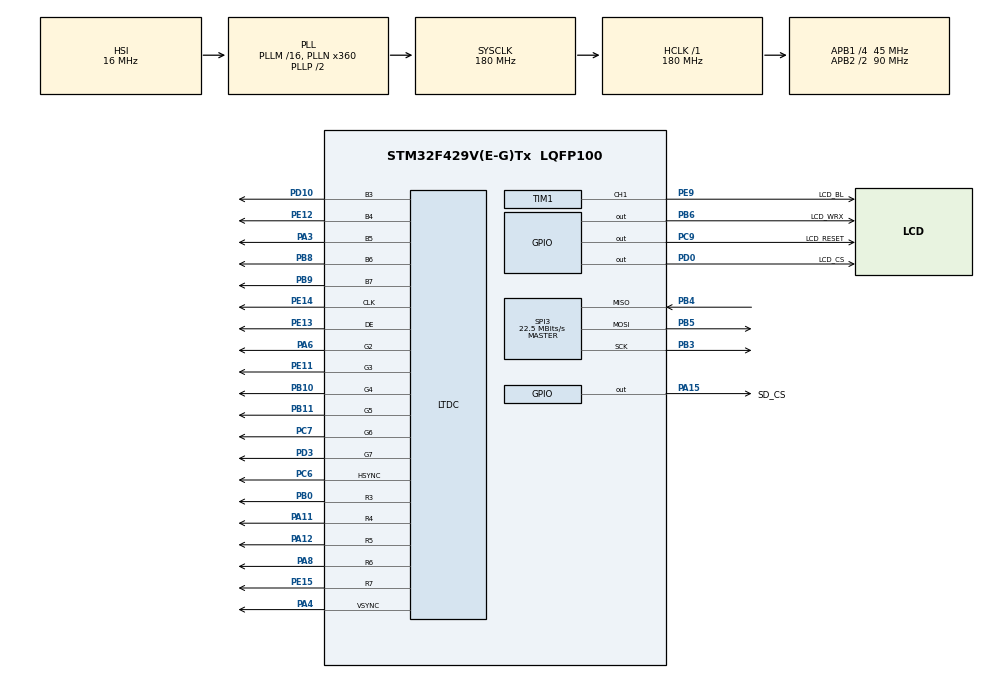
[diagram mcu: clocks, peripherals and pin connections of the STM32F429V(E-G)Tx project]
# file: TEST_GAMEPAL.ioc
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Dma.Request0=SPI3_RX
Dma.Request1=SPI3_TX
Dma.SPI3_RX.0.Direction=DMA_PERIPH_TO_MEMORY
Dma.SPI3_RX.0.FIFOMode=DMA_FIFOMODE_DISABLE
Dma.SPI3_RX.0.Instance=DMA1_Stream2
Dma.SPI3_RX.0.MemDataAlignment=DMA_MDATAALIGN_BYTE
Dma.SPI3_RX.0.MemInc=DMA_MINC_ENABLE
Dma.SPI3_RX.0.Mode=DMA_NORMAL
Dma.SPI3_RX.0.PeriphDataAlignment=DMA_PDATAALIGN_BYTE
Dma.SPI3_RX.0.PeriphInc=DMA_PINC_DISABLE
Dma.SPI3_RX.0.Priority=DMA_PRIORITY_LOW
Dma.SPI3_TX.1.Direction=DMA_MEMORY_TO_PERIPH
Dma.SPI3_TX.1.FIFOMode=DMA_FIFOMODE_DISABLE
Dma.SPI3_TX.1.Instance=DMA1_Stream5
Dma.SPI3_TX.1.MemDataAlignment=DMA_MDATAALIGN_BYTE
Dma.SPI3_TX.1.MemInc=DMA_MINC_ENABLE
Dma.SPI3_TX.1.Mode=DMA_NORMAL
Dma.SPI3_TX.1.PeriphDataAlignment=DMA_PDATAALIGN_BYTE
Dma.SPI3_TX.1.PeriphInc=DMA_PINC_DISABLE
Dma.SPI3_TX.1.Priority=DMA_PRIORITY_LOW
LTDC.ActiveH=320
LTDC.ActiveW=240
LTDC.Alpha_L0=255
LTDC.BlendingFactor1_L0=LTDC_BLENDING_FACTOR1_CA
LTDC.BlendingFactor2_L0=LTDC_BLENDING_FACTOR2_CA
LTDC.Blue_L0=0
LTDC.DEPolarity=LTDC_DEPOLARITY_AL
LTDC.Green=0
LTDC.Green_L0=0
LTDC.HBP=10
LTDC.HFP=38
LTDC.HSync=10
LTDC.ImageHeight_L0=320
LTDC.ImageWidth_L0=240
LTDC.Layers=0
LTDC.PCPolarity=LTDC_PCPOLARITY_IPC
LTDC.PixelFormat_L0=LTDC_PIXEL_FORMAT_RGB565
LTDC.Red=0
LTDC.VBP=4
LTDC.VFP=8
LTDC.VSync=4
LTDC.WindowX1_L0=240
LTDC.WindowY0_L0=0
LTDC.WindowY1_L0=320
Mcu.Family=STM32F4
Mcu.Name=STM32F429V(E-G)Tx
Mcu.Package=LQFP100
NVIC.DMA1_Stream2_IRQn=true\:0\:0\:false\:false\:true\:false\:true\:true
NVIC.DMA1_Stream5_IRQn=true\:0\:0\:false\:false\:true\:false\:true\:true
NVIC.PriorityGroup=NVIC_PRIORITYGROUP_4
PA11.GPIO_Speed=GPIO_SPEED_FREQ_VERY_HIGH
PA11.Mode=RGB565
PA11.Signal=LTDC_R4
PA12.GPIO_Speed=GPIO_SPEED_FREQ_VERY_HIGH
PA12.Mode=RGB565
PA12.Signal=LTDC_R5
PA13.Mode=Serial_Wire
PA13.Signal=SYS_JTMS-SWDIO
PA14.Mode=Serial_Wire
PA14.Signal=SYS_JTCK-SWCLK
PA15.GPIO_Label=SD_CS
PA15.GPIO_Speed=GPIO_SPEED_FREQ_HIGH
PA15.Signal=GPIO_Output
PA3.GPIO_Speed=GPIO_SPEED_FREQ_VERY_HIGH
PA3.Mode=RGB565
PA3.Signal=LTDC_B5
PA4.GPIO_Speed=GPIO_SPEED_FREQ_VERY_HIGH
PA4.Mode=RGB565
PA4.Signal=LTDC_VSYNC
PA6.GPIO_Speed=GPIO_SPEED_FREQ_VERY_HIGH
PA6.Mode=RGB565
PA6.Signal=LTDC_G2
PA8.GPIO_Speed=GPIO_SPEED_FREQ_VERY_HIGH
PA8.Mode=RGB565
PA8.Signal=LTDC_R6
PB0.GPIO_Speed=GPIO_SPEED_FREQ_VERY_HIGH
PB0.Mode=RGB565
PB0.Signal=LTDC_R3
PB10.GPIO_Speed=GPIO_SPEED_FREQ_VERY_HIGH
PB10.Mode=RGB565
PB10.Signal=LTDC_G4
PB11.GPIO_Speed=GPIO_SPEED_FREQ_VERY_HIGH
PB11.Mode=RGB565
PB11.Signal=LTDC_G5
PB3.Mode=Full_Duplex_Master
PB3.Signal=SPI3_SCK
PB4.Mode=Full_Duplex_Master
PB4.Signal=SPI3_MISO
PB5.Mode=Full_Duplex_Master
PB5.Signal=SPI3_MOSI
PB6.GPIO_Label=LCD_WRX
PB6.GPIO_Speed=GPIO_SPEED_FREQ_HIGH
PB6.PinState=GPIO_PIN_SET
PB6.Signal=GPIO_Output
PB8.GPIO_Speed=GPIO_SPEED_FREQ_VERY_HIGH
PB8.Mode=RGB565
PB8.Signal=LTDC_B6
PB9.GPIO_Speed=GPIO_SPEED_FREQ_VERY_HIGH
PB9.Mode=RGB565
PB9.Signal=LTDC_B7
PC6.GPIO_Speed=GPIO_SPEED_FREQ_VERY_HIGH
PC6.Mode=RGB565
PC6.Signal=LTDC_HSYNC
PC7.GPIO_Speed=GPIO_SPEED_FREQ_VERY_HIGH
PC7.Mode=RGB565
PC7.Signal=LTDC_G6
PC9.GPIO_Label=LCD_RESET
PC9.PinState=GPIO_PIN_SET
PC9.Signal=GPIO_Output
PD0.GPIO_Label=LCD_CS
PD0.GPIO_Speed=GPIO_SPEED_FREQ_HIGH
PD0.PinState=GPIO_PIN_SET
PD0.Signal=GPIO_Output
PD10.GPIO_Speed=GPIO_SPEED_FREQ_VERY_HIGH
PD10.Mode=RGB565
PD10.Signal=LTDC_B3
PD3.GPIO_Speed=GPIO_SPEED_FREQ_VERY_HIGH
PD3.Mode=RGB565
PD3.Signal=LTDC_G7
PE11.GPIO_Speed=GPIO_SPEED_FREQ_VERY_HIGH
PE11.Mode=RGB565
PE11.Signal=LTDC_G3
PE12.GPIO_Speed=GPIO_SPEED_FREQ_VERY_HIGH
PE12.Mode=RGB565
PE12.Signal=LTDC_B4
PE13.GPIO_Speed=GPIO_SPEED_FREQ_VERY_HIGH
PE13.Mode=RGB565
PE13.Signal=LTDC_DE
PE14.GPIO_Speed=GPIO_SPEED_FREQ_VERY_HIGH
PE14.Mode=RGB565
PE14.Signal=LTDC_CLK
PE15.GPIO_Speed=GPIO_SPEED_FREQ_VERY_HIGH
PE15.Mode=RGB565
PE15.Signal=LTDC_R7
PE9.GPIO_Label=LCD_BL
PE9.Signal=S_TIM1_CH1
ProjectManager.HeapSize=0x200
ProjectManager.StackSize=0x400
ProjectManager.TargetToolchain=STM32CubeIDE
RCC.48MHZClocksFreq_Value=90000000
RCC.AHBFreq_Value=180000000
RCC.APB1CLKDivider=RCC_HCLK_DIV4
RCC.APB1Freq_Value=45000000
RCC.APB1TimFreq_Value=90000000
RCC.APB2CLKDivider=RCC_HCLK_DIV2
RCC.APB2Freq_Value=90000000
RCC.APB2TimFreq_Value=180000000
RCC.CortexFreq_Value=180000000
RCC.HCLKFreq_Value=180000000
RCC.HSE_VALUE=25000000
RCC.HSI_VALUE=16000000
RCC.LSE_VALUE=32768
RCC.PLLN=360
RCC.PLLSAIN=140
RCC.PLLSAIR=5
RCC.SYSCLKFreq_VALUE=180000000
RCC.SYSCLKSource=RCC_SYSCLKSOURCE_PLLCLK
RCC.VCOOutputFreq_Value=360000000
SH.S_TIM1_CH1.0=TIM1_CH1,PWM Generation1 CH1
SPI3.BaudRatePrescaler=SPI_BAUDRATEPRESCALER_2
SPI3.CalculateBaudRate=22.5 MBits/s
SPI3.DataSize=SPI_DATASIZE_8BIT
SPI3.Direction=SPI_DIRECTION_2LINES
SPI3.Mode=SPI_MODE_MASTER
SPI3.VirtualType=VM_MASTER
TIM1.Channel-PWM\ Generation1\ CH1=TIM_CHANNEL_1
TIM1.Period=99
TIM1.Prescaler=15
board=custom

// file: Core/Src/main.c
/* USER CODE BEGIN Header */
/* USER CODE END Header */
#include "main.h"

/* USER CODE BEGIN Includes */

#include "st7789v.h"
#include "st_logo1.h"
/* USER CODE END Includes */

/* USER CODE BEGIN PD */
#define LCD_CS_LOW()       HAL_GPIO_WritePin(LCD_CS_GPIO_Port, LCD_CS_Pin, GPIO_PIN_RESET)
#define LCD_CS_HIGH()      HAL_GPIO_WritePin(LCD_CS_GPIO_Port, LCD_CS_Pin, GPIO_PIN_SET)
/* USER CODE END PD */

LTDC_HandleTypeDef hltdc;

SPI_HandleTypeDef hspi3;
DMA_HandleTypeDef hdma_spi3_rx;
DMA_HandleTypeDef hdma_spi3_tx;

TIM_HandleTypeDef htim1;

void SystemClock_Config(void);
static void MX_GPIO_Init(void);
static void MX_DMA_Init(void);
static void MX_SPI3_Init(void);
static void MX_LTDC_Init(void);
static void MX_TIM1_Init(void);

int main(void)
{

  /* MCU Configuration--------------------------------------------------------*/

  /* Reset of all peripherals, Initializes the Flash interface and the Systick. */
  HAL_Init();

  /* Configure the system clock */
  SystemClock_Config();

  /* Initialize all configured peripherals */
  MX_GPIO_Init();
  MX_DMA_Init();
  MX_SPI3_Init();
  MX_LTDC_Init();
  MX_TIM1_Init();
  /* USER CODE BEGIN 2 */

  HAL_TIM_PWM_Start(&htim1, TIM_CHANNEL_1);

  HAL_LTDC_Reload(&hltdc,LTDC_SRCR_VBR);

  /* USER CODE END 2 */

  /* Infinite loop */
  while(1)
  {

    /* USER CODE BEGIN 3 */
//	  st7789_Clear(0x0000);
//	  HAL_Delay(1000);
//	  st7789_Clear(0xF800);
//	  HAL_Delay(1000);
//	  st7789_Clear(0x07E0);
//	  HAL_Delay(1000);
//	  st7789_Clear(0x001F);
//	  HAL_Delay(1000);
//	  st7789_Clear(0xFFFF);
//	  HAL_Delay(1000);

	  for(int i = 0; i < 76800; i++)
	  {
		  ST_LOGO_1[i] = 0;
//		  HAL_Delay(0);
	  }
//	  HAL_LTDC_Reload(&hltdc,LTDC_SRCR_VBR);
	  HAL_Delay(1000);

	  for(int i = 0; i < 76800; i++)
	  {
		  ST_LOGO_1[i] = 0xF700;
	  }
//	  HAL_LTDC_Reload(&hltdc,LTDC_SRCR_VBR);
	  HAL_Delay(1000);

  }
  /* USER CODE END 3 */
}

void SystemClock_Config(void)
{
  RCC_OscInitTypeDef RCC_OscInitStruct = {0};
  RCC_ClkInitTypeDef RCC_ClkInitStruct = {0};

  /** Configure the main internal regulator output voltage
  */
  __HAL_RCC_PWR_CLK_ENABLE();
  __HAL_PWR_VOLTAGESCALING_CONFIG(PWR_REGULATOR_VOLTAGE_SCALE1);

  /** Initializes the RCC Oscillators according to the specified parameters
  * in the RCC_OscInitTypeDef structure.
  */
  RCC_OscInitStruct.OscillatorType = RCC_OSCILLATORTYPE_HSI;
  RCC_OscInitStruct.HSIState = RCC_HSI_ON;
  RCC_OscInitStruct.HSICalibrationValue = RCC_HSICALIBRATION_DEFAULT;
  RCC_OscInitStruct.PLL.PLLState = RCC_PLL_ON;
  RCC_OscInitStruct.PLL.PLLSource = RCC_PLLSOURCE_HSI;
  RCC_OscInitStruct.PLL.PLLM = 16;
  RCC_OscInitStruct.PLL.PLLN = 360;
  RCC_OscInitStruct.PLL.PLLP = RCC_PLLP_DIV2;
  RCC_OscInitStruct.PLL.PLLQ = 4;
  if (HAL_RCC_OscConfig(&RCC_OscInitStruct) != HAL_OK)
  {
    Error_Handler();
  }

  /** Activate the Over-Drive mode
  */
  if (HAL_PWREx_EnableOverDrive() != HAL_OK)
  {
    Error_Handler();
  }

  /** Initializes the CPU, AHB and APB buses clocks
  */
  RCC_ClkInitStruct.ClockType = RCC_CLOCKTYPE_HCLK|RCC_CLOCKTYPE_SYSCLK
                              |RCC_CLOCKTYPE_PCLK1|RCC_CLOCKTYPE_PCLK2;
  RCC_ClkInitStruct.SYSCLKSource = RCC_SYSCLKSOURCE_PLLCLK;
  RCC_ClkInitStruct.AHBCLKDivider = RCC_SYSCLK_DIV1;
  RCC_ClkInitStruct.APB1CLKDivider = RCC_HCLK_DIV4;
  RCC_ClkInitStruct.APB2CLKDivider = RCC_HCLK_DIV2;

  if (HAL_RCC_ClockConfig(&RCC_ClkInitStruct, FLASH_LATENCY_5) != HAL_OK)
  {
    Error_Handler();
  }
}

static void MX_LTDC_Init(void)
{

  /* USER CODE BEGIN LTDC_Init 0 */

	st7789_Init();
  /* USER CODE END LTDC_Init 0 */

  LTDC_LayerCfgTypeDef pLayerCfg = {0};

  hltdc.Instance = LTDC;
  hltdc.Init.HSPolarity = LTDC_HSPOLARITY_AL;
  hltdc.Init.VSPolarity = LTDC_VSPOLARITY_AL;
  hltdc.Init.DEPolarity = LTDC_DEPOLARITY_AL;
  hltdc.Init.PCPolarity = LTDC_PCPOLARITY_IPC;
  hltdc.Init.HorizontalSync = 9;
  hltdc.Init.VerticalSync = 3;
  hltdc.Init.AccumulatedHBP = 19;
  hltdc.Init.AccumulatedVBP = 7;
  hltdc.Init.AccumulatedActiveW = 259;
  hltdc.Init.AccumulatedActiveH = 327;
  hltdc.Init.TotalWidth = 297;
  hltdc.Init.TotalHeigh = 335;
  hltdc.Init.Backcolor.Blue = 0;
  hltdc.Init.Backcolor.Green = 0;
  hltdc.Init.Backcolor.Red = 0;
  if (HAL_LTDC_Init(&hltdc) != HAL_OK)
  {
    Error_Handler();
  }
  pLayerCfg.WindowX0 = 0;
  pLayerCfg.WindowX1 = 240;
  pLayerCfg.WindowY0 = 0;
  pLayerCfg.WindowY1 = 320;
  pLayerCfg.PixelFormat = LTDC_PIXEL_FORMAT_RGB565;
  pLayerCfg.Alpha = 255;
  pLayerCfg.Alpha0 = 0;
  pLayerCfg.BlendingFactor1 = LTDC_BLENDING_FACTOR1_CA;
  pLayerCfg.BlendingFactor2 = LTDC_BLENDING_FACTOR2_CA;
  pLayerCfg.FBStartAdress = (uint32_t) &ST_LOGO_1;
  pLayerCfg.ImageWidth = 240;
  pLayerCfg.ImageHeight = 320;
  pLayerCfg.Backcolor.Blue = 0;
  pLayerCfg.Backcolor.Green = 0;
  pLayerCfg.Backcolor.Red = 0;
  if (HAL_LTDC_ConfigLayer(&hltdc, &pLayerCfg, 0) != HAL_OK)
  {
    Error_Handler();
  }

}

static void MX_SPI3_Init(void)
{

  /* SPI3 parameter configuration*/
  hspi3.Instance = SPI3;
  hspi3.Init.Mode = SPI_MODE_MASTER;
  hspi3.Init.Direction = SPI_DIRECTION_2LINES;
  hspi3.Init.DataSize = SPI_DATASIZE_8BIT;
  hspi3.Init.CLKPolarity = SPI_POLARITY_LOW;
  hspi3.Init.CLKPhase = SPI_PHASE_1EDGE;
  hspi3.Init.NSS = SPI_NSS_SOFT;
  hspi3.Init.BaudRatePrescaler = SPI_BAUDRATEPRESCALER_2;
  hspi3.Init.FirstBit = SPI_FIRSTBIT_MSB;
  hspi3.Init.TIMode = SPI_TIMODE_DISABLE;
  hspi3.Init.CRCCalculation = SPI_CRCCALCULATION_DISABLE;
  hspi3.Init.CRCPolynomial = 10;
  if (HAL_SPI_Init(&hspi3) != HAL_OK)
  {
    Error_Handler();
  }

}

static void MX_TIM1_Init(void)
{

  TIM_MasterConfigTypeDef sMasterConfig = {0};
  TIM_OC_InitTypeDef sConfigOC = {0};
  TIM_BreakDeadTimeConfigTypeDef sBreakDeadTimeConfig = {0};

  htim1.Instance = TIM1;
  htim1.Init.Prescaler = 15;
  htim1.Init.CounterMode = TIM_COUNTERMODE_UP;
  htim1.Init.Period = 99;
  htim1.Init.ClockDivision = TIM_CLOCKDIVISION_DIV1;
  htim1.Init.RepetitionCounter = 0;
  htim1.Init.AutoReloadPreload = TIM_AUTORELOAD_PRELOAD_DISABLE;
  if (HAL_TIM_PWM_Init(&htim1) != HAL_OK)
  {
    Error_Handler();
  }
  sMasterConfig.MasterOutputTrigger = TIM_TRGO_RESET;
  sMasterConfig.MasterSlaveMode = TIM_MASTERSLAVEMODE_DISABLE;
  if (HAL_TIMEx_MasterConfigSynchronization(&htim1, &sMasterConfig) != HAL_OK)
  {
    Error_Handler();
  }
  sConfigOC.OCMode = TIM_OCMODE_PWM1;
  sConfigOC.Pulse = 0;
  sConfigOC.OCPolarity = TIM_OCPOLARITY_HIGH;
  sConfigOC.OCNPolarity = TIM_OCNPOLARITY_HIGH;
  sConfigOC.OCFastMode = TIM_OCFAST_DISABLE;
  sConfigOC.OCIdleState = TIM_OCIDLESTATE_RESET;
  sConfigOC.OCNIdleState = TIM_OCNIDLESTATE_RESET;
  if (HAL_TIM_PWM_ConfigChannel(&htim1, &sConfigOC, TIM_CHANNEL_1) != HAL_OK)
  {
    Error_Handler();
  }
  sBreakDeadTimeConfig.OffStateRunMode = TIM_OSSR_DISABLE;
  sBreakDeadTimeConfig.OffStateIDLEMode = TIM_OSSI_DISABLE;
  sBreakDeadTimeConfig.LockLevel = TIM_LOCKLEVEL_OFF;
  sBreakDeadTimeConfig.DeadTime = 0;
  sBreakDeadTimeConfig.BreakState = TIM_BREAK_DISABLE;
  sBreakDeadTimeConfig.BreakPolarity = TIM_BREAKPOLARITY_HIGH;
  sBreakDeadTimeConfig.AutomaticOutput = TIM_AUTOMATICOUTPUT_DISABLE;
  if (HAL_TIMEx_ConfigBreakDeadTime(&htim1, &sBreakDeadTimeConfig) != HAL_OK)
  {
    Error_Handler();
  }
  /* USER CODE BEGIN TIM1_Init 2 */
  TIM1->CCR1 = 25;

  /* USER CODE END TIM1_Init 2 */
  HAL_TIM_MspPostInit(&htim1);

}

static void MX_DMA_Init(void)
{

  /* DMA controller clock enable */
  __HAL_RCC_DMA1_CLK_ENABLE();

  /* DMA interrupt init */
  /* DMA1_Stream2_IRQn interrupt configuration */
  HAL_NVIC_SetPriority(DMA1_Stream2_IRQn, 0, 0);
  HAL_NVIC_EnableIRQ(DMA1_Stream2_IRQn);
  /* DMA1_Stream5_IRQn interrupt configuration */
  HAL_NVIC_SetPriority(DMA1_Stream5_IRQn, 0, 0);
  HAL_NVIC_EnableIRQ(DMA1_Stream5_IRQn);

}

static void MX_GPIO_Init(void)
{
  GPIO_InitTypeDef GPIO_InitStruct = {0};

  /* GPIO Ports Clock Enable */
  __HAL_RCC_GPIOA_CLK_ENABLE();
  __HAL_RCC_GPIOB_CLK_ENABLE();
  __HAL_RCC_GPIOE_CLK_ENABLE();
  __HAL_RCC_GPIOD_CLK_ENABLE();
  __HAL_RCC_GPIOC_CLK_ENABLE();

  /*Configure GPIO pin Output Level */
  HAL_GPIO_WritePin(LCD_RESET_GPIO_Port, LCD_RESET_Pin, GPIO_PIN_SET);

  /*Configure GPIO pin Output Level */
  HAL_GPIO_WritePin(SD_CS_GPIO_Port, SD_CS_Pin, GPIO_PIN_RESET);

  /*Configure GPIO pin Output Level */
  HAL_GPIO_WritePin(LCD_CS_GPIO_Port, LCD_CS_Pin, GPIO_PIN_SET);

  /*Configure GPIO pin Output Level */
  HAL_GPIO_WritePin(LCD_WRX_GPIO_Port, LCD_WRX_Pin, GPIO_PIN_SET);

  /*Configure GPIO pin : LCD_RESET_Pin */
  GPIO_InitStruct.Pin = LCD_RESET_Pin;
  GPIO_InitStruct.Mode = GPIO_MODE_OUTPUT_PP;
  GPIO_InitStruct.Pull = GPIO_NOPULL;
  GPIO_InitStruct.Speed = GPIO_SPEED_FREQ_LOW;
  HAL_GPIO_Init(LCD_RESET_GPIO_Port, &GPIO_InitStruct);

  /*Configure GPIO pin : SD_CS_Pin */
  GPIO_InitStruct.Pin = SD_CS_Pin;
  GPIO_InitStruct.Mode = GPIO_MODE_OUTPUT_PP;
  GPIO_InitStruct.Pull = GPIO_NOPULL;
  GPIO_InitStruct.Speed = GPIO_SPEED_FREQ_HIGH;
  HAL_GPIO_Init(SD_CS_GPIO_Port, &GPIO_InitStruct);

  /*Configure GPIO pin : LCD_CS_Pin */
  GPIO_InitStruct.Pin = LCD_CS_Pin;
  GPIO_InitStruct.Mode = GPIO_MODE_OUTPUT_PP;
  GPIO_InitStruct.Pull = GPIO_NOPULL;
  GPIO_InitStruct.Speed = GPIO_SPEED_FREQ_HIGH;
  HAL_GPIO_Init(LCD_CS_GPIO_Port, &GPIO_InitStruct);

  /*Configure GPIO pin : LCD_WRX_Pin */
  GPIO_InitStruct.Pin = LCD_WRX_Pin;
  GPIO_InitStruct.Mode = GPIO_MODE_OUTPUT_PP;
  GPIO_InitStruct.Pull = GPIO_NOPULL;
  GPIO_InitStruct.Speed = GPIO_SPEED_FREQ_HIGH;
  HAL_GPIO_Init(LCD_WRX_GPIO_Port, &GPIO_InitStruct);

}

/* USER CODE BEGIN 4 */

void LCD_IO_Delay(uint32_t Delay)
{
  HAL_Delay(Delay);
}

void LCD_IO_Init()
{
	LCD_CS_HIGH();
	LCD_IO_Delay(10);

	HAL_GPIO_WritePin(LCD_RESET_GPIO_Port, LCD_RESET_Pin, GPIO_PIN_SET);
	LCD_IO_Delay(1);
	HAL_GPIO_WritePin(LCD_RESET_GPIO_Port, LCD_RESET_Pin, GPIO_PIN_RESET);
	LCD_IO_Delay(10);
	HAL_GPIO_WritePin(LCD_RESET_GPIO_Port, LCD_RESET_Pin, GPIO_PIN_SET);
	LCD_IO_Delay(120);

}

void LCD_IO_WriteCommand(uint8_t command)
{
	uint8_t SPI_data[2];
	SPI_data[0] = command >> 1;
	SPI_data[1] = command << 7;
	LCD_CS_LOW();
	HAL_SPI_Transmit(&hspi3, SPI_data, 2, 100);
	LCD_CS_HIGH();

//	uint16_t SPI_msg = (command << 7);
//	LCD_CS_LOW();
//	HAL_SPI_Transmit(&hspi3, (uint8_t*)&SPI_msg, 1, 100);
//	LCD_CS_HIGH();
}

void LCD_IO_WriteData(uint8_t data)
{
	uint8_t SPI_msg[2];
	SPI_msg[0] = 0x80 | (data >> 1);
	SPI_msg[1] = data << 7;
	LCD_CS_LOW();
	HAL_SPI_Transmit(&hspi3, SPI_msg, 2, 100);
	LCD_CS_HIGH();

//	uint16_t SPI_msg = 0x8000 | (data << 7);
//	LCD_CS_LOW();
//	HAL_SPI_Transmit(&hspi3, (uint8_t*)&SPI_msg, 1, 100);
//	LCD_CS_HIGH();
}

//void LCD_IO_WriteData(uint8_t *data, uint8_t length)
//{
//	uint8_t SPI_data = 0;
//	uint8_t bitpos = 0;
//
//	LCD_CS_LOW();
//
//	for (uint8_t i = 0; i < length; i++)
//	{
//		uint16_t nine = 0x100 | data[i];
//
//		for (int b = 8; b >= 0; b--)
//		{
//			SPI_data |= ((nine >> b) & 1) << (7 - bitpos);
//			bitpos++;
//
//			if (bitpos == 8)
//			{
////				printf("%08b ", SPI_data);
//				HAL_SPI_Transmit(&hspi3, &SPI_data, 1, 100);
//				SPI_data = 0;
//				bitpos = 0;
//			}
//		}
//	}
//
//	if (bitpos != 0)
//	{
////		printf("%08b ", SPI_data);
//		HAL_SPI_Transmit(&hspi3, &SPI_data, 1, 100);
//	}
//
//	LCD_CS_HIGH();
//}

/* USER CODE END 4 */

void Error_Handler(void)
{
}
